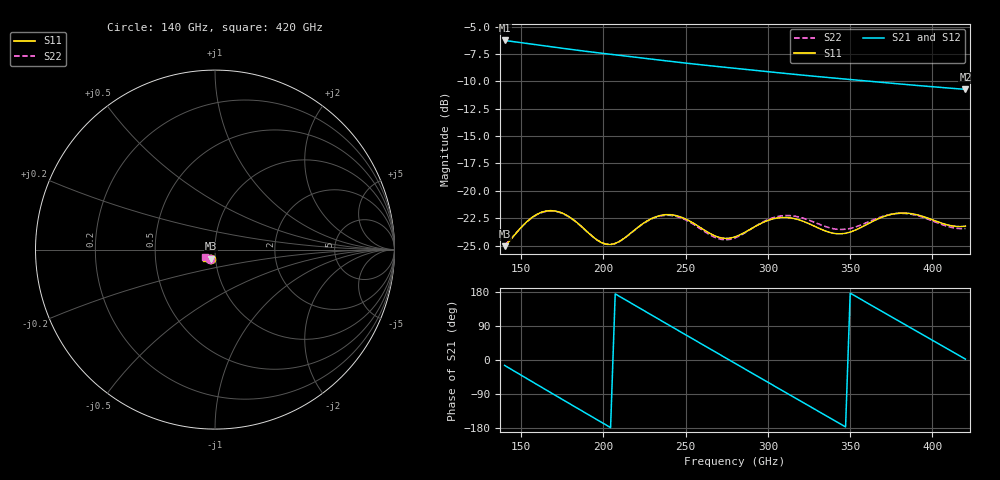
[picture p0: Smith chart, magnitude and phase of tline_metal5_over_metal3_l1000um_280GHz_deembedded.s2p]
! Created with skrf 2.2.0 (http://scikit-rf.org).
# GHz S DB R 50.0
! Port[1] = P1
! Port[2] = P2
!freq dBS11 angS11 dBS21 angS21 dBS12 angS12 dBS22 angS22
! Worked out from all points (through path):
!   101 points, 140 GHz to 420 GHz, reference 50 ohm
!   highest |S21| = -6.27 dB at 140 GHz (marker M1); lowest = -10.7 dB at 420 GHz (marker M2)
!   group delay of S21, straight-line fit = 6.97 ps
!   lowest |S11| = -25.1 dB at 140 GHz (marker M3), VSWR 1.12, Z = 47.4 - j4.79 ohm
!   |S11| at or under -10 dB: start of sweep to end of sweep
!   |S22| runs from -24.9 to -21.8 dB; largest |S21 - S12| = 5.7e-13
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140  -25.05 -115.6  -6.27 -14.3  -6.27 -14.3  -24.94 -117.1
154  -22.75 -115.1  -6.55 -50.2  -6.55 -50.2  -22.77 -116.0
165.2  -21.84 -124.7  -6.78 -78.9  -6.78 -78.9  -21.87 -125.3
176.4  -22.12 -135.1  -7.00 -107.4  -7.00 -107.4  -22.15 -135.5
187.6  -23.37 -140.9  -7.22 -135.8  -7.22 -135.8  -23.39 -141.2
198.8  -24.72 -137.1  -7.43 -164.2  -7.43 -164.2  -24.72 -137.5
210  -24.60 -127.9  -7.63 167.4  -7.63 167.4  -24.60 -128.4
224  -23.00 -126.3  -7.88 132.0  -7.88 132.0  -23.02 -127.0
235.2  -22.23 -132.6  -8.08 103.8  -8.08 103.8  -22.27 -133.3
246.4  -22.35 -140.1  -8.27 75.6  -8.27 75.6  -22.43 -140.8
260.4  -23.49 -144.3  -8.50 40.5  -8.50 40.5  -23.61 -144.8
280  -24.20 -135.2  -8.81 -8.7  -8.81 -8.7  -24.30 -134.8
291.2  -23.34 -132.5  -8.98 -36.8  -8.98 -36.8  -23.34 -131.8
305.2  -22.49 -136.7  -9.20 -71.8  -9.20 -71.8  -22.36 -136.1
316.4  -22.55 -141.9  -9.36 -99.8  -9.36 -99.8  -22.31 -141.6
327.6  -23.18 -144.5  -9.52 -127.7  -9.52 -127.7  -22.83 -144.8
350  -23.76 -136.4  -9.83 176.4  -9.83 176.4  -23.43 -139.5
361.2  -22.98 -133.9  -9.98 148.5  -9.98 148.5  -22.82 -137.6
375.2  -22.14 -137.3  -10.17 113.6  -10.17 113.6  -22.13 -141.0
394.8  -22.37 -144.5  -10.43 64.9  -10.43 64.9  -22.45 -148.1
408.8  -23.09 -144.0  -10.60 30.1  -10.60 30.1  -23.23 -147.7
420  -23.22 -140.0  -10.73 2.3  -10.73 2.3  -23.44 -143.9
